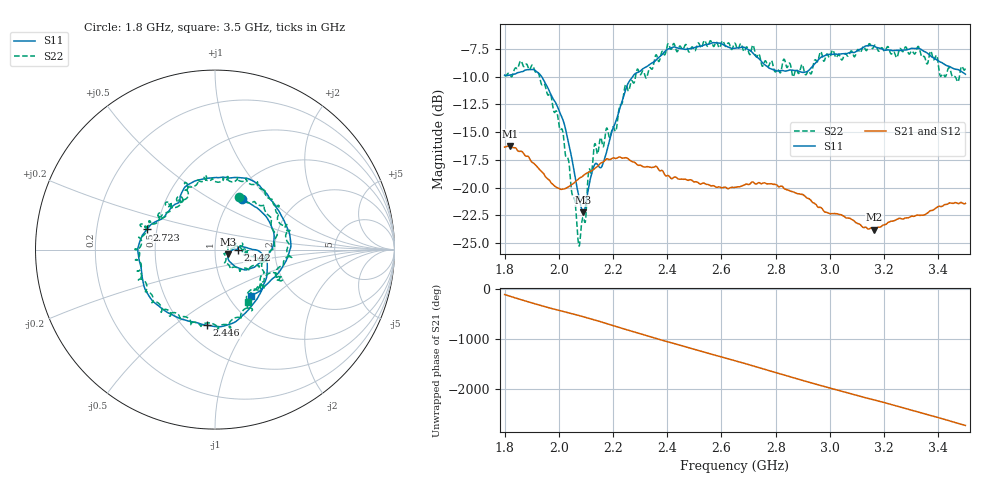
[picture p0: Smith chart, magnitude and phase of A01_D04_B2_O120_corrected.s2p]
! Created with skrf 1.9.0 (http://scikit-rf.org).
# Hz S RI R 50.0
!freq ReS11 ImS11 ReS21 ImS21 ReS12 ImS12 ReS22 ImS22
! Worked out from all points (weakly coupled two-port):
!   1601 points, 1.8 GHz to 3.5 GHz, reference 50 ohm
!   highest |S21| = -16.26 dB at 1.82 GHz (marker M1); lowest = -23.8 dB at 3.164 GHz (marker M2)
!   lowest |S11| = -22.3 dB at 2.09 GHz (marker M3), VSWR 1.17, Z = 57.7 - j3.14 ohm
!   |S11| at or under -10 dB: 1.937 GHz to 2.272 GHz (335.6 MHz wide, 15.9 % of centre)
!   |S22| runs from -25.3 to -6.7 dB; largest |S21 - S12| = 0.0025
!   S11 on the Smith chart (normalised r, x): 1.8 GHz: 1.12, +0.71; 2.142 GHz: 1.29, +0.00; 2.446 GHz: 0.65, -0.67; 2.723 GHz: 0.44, +0.12; 3.5 GHz: 1.27, -0.72
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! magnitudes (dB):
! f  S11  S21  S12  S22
! 1.8 GHz  -9.9  -16.4  -16.4  -9.9
! 1.82 GHz  -9.9  -16.3  -16.3  -9.8
! 1.903 GHz  -9.3  -17.7  -17.7  -9.0
! 1.968 GHz  -11.5  -19.4  -19.5  -11.5
! 2.015 GHz  -13.9  -20.2  -20.2  -15.0
! 2.072 GHz  -20.6  -19.2  -19.3  -25.0
! 2.084 GHz  -21.9  -19.1  -19.0  -23.3
! 2.09 GHz  -22.3  -18.9  -19.0  -22.7
! 2.112 GHz  -19.7  -18.6  -18.6  -18.3
! 2.142 GHz  -17.9  -18.1  -18.1  -17.0
! 2.209 GHz  -14.1  -17.4  -17.3  -14.9
! 2.259 GHz  -10.4  -17.5  -17.5  -11.2
! 2.367 GHz  -8.3  -18.3  -18.3  -8.6
! 2.446 GHz  -7.5  -19.3  -19.2  -7.2
! 2.65 GHz  -7.4  -20.0  -19.9  -7.0
! 2.723 GHz  -8.1  -19.6  -19.6  -7.7
! 2.934 GHz  -9.1  -21.3  -21.2  -9.6
! 3.164 GHz  -7.3  -23.8  -23.7  -7.2
! 3.217 GHz  -7.6  -23.1  -23.1  -7.4
! 3.327 GHz  -7.5  -22.5  -22.4  -7.3
! 3.468 GHz  -9.3  -21.4  -21.4  -10.3
! 3.5 GHz  -9.8  -21.4  -21.4  -9.2
